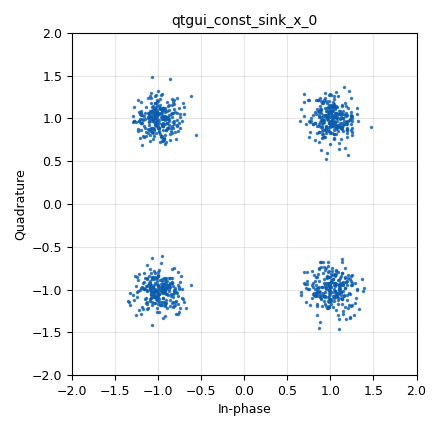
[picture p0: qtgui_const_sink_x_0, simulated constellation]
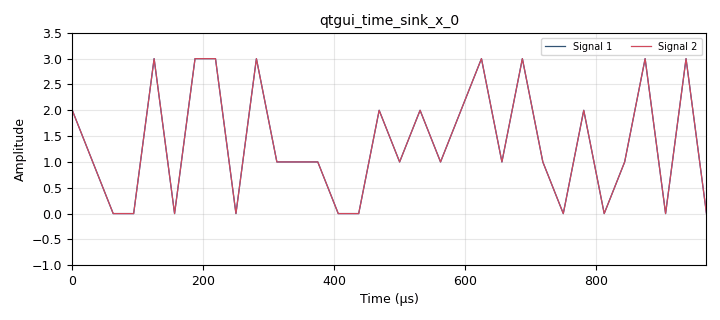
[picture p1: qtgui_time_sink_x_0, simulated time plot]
options:
  parameters:
    author: andrewgallovich
    generate_options: qt_gui
    id: Flow
    output_language: python
    title: Not titled yet
  states: {}

blocks:
- name: my_const
  id: variable_constellation
  parameters:
    const_points: '[1+1j, -1+1j, -1-1j, 1-1j]'
    dims: '1'
    normalization: digital.constellation.AMPLITUDE_NORMALIZATION
    precision: '8'
    rot_sym: '4'
    sym_map: '[0, 1, 2, 3]'
    type: calcdist
  states: {}
- name: noise_amp
  id: variable_qtgui_range
  parameters:
    start: '0'
    step: '0.1'
    stop: '1'
    value: '0.2'
  states: {}
- name: samp_rate
  id: variable
  parameters:
    value: '32000'
  states: {}
- name: analog_noise_source_x_0
  id: analog_noise_source_x
  parameters:
    amp: noise_amp
    noise_type: analog.GR_GAUSSIAN
    seed: '0'
    type: complex
  states: {}
- name: analog_random_source_x_0
  id: analog_random_source_x
  parameters:
    max: '4'
    min: '0'
    num_samps: '1000'
    repeat: 'True'
    type: byte
  states: {}
- name: blocks_add_xx_0
  id: blocks_add_xx
  parameters:
    type: complex
  states: {}
- name: blocks_char_to_float_0
  id: blocks_char_to_float
  parameters:
    scale: '1'
  states: {}
- name: blocks_char_to_float_1
  id: blocks_char_to_float
  parameters:
    scale: '1'
  states: {}
- name: blocks_file_sink_0
  id: blocks_file_sink
  parameters:
    file: /Users/andrewgallovich/Thesis/Files/GNU_Data
    type: complex
  states: {state: disabled}
- name: blocks_throttle2_0
  id: blocks_throttle2
  parameters:
    samples_per_second: samp_rate
    type: complex
  states: {}
- name: digital_chunks_to_symbols_xx_0
  id: digital_chunks_to_symbols_xx
  parameters:
    dimension: '1'
    in_type: byte
    out_type: complex
    symbol_table: '[1+1j, -1+1j, -1-1j, 1-1j]'
  states: {}
- name: digital_constellation_decoder_cb_0
  id: digital_constellation_decoder_cb
  parameters:
    constellation: my_const
  states: {}
- name: qtgui_const_sink_x_0
  id: qtgui_const_sink_x
  parameters:
    size: '1024'
    type: complex
  states: {}
- name: qtgui_time_sink_x_0
  id: qtgui_time_sink_x
  parameters:
    nconnections: '2'
    size: '32'
    srate: samp_rate
    type: float
    ymax: '3.5'
  states: {}

connections:
- [analog_noise_source_x_0, '0', blocks_add_xx_0, '1']
- [analog_random_source_x_0, '0', blocks_char_to_float_1, '0']
- [analog_random_source_x_0, '0', digital_chunks_to_symbols_xx_0, '0']
- [blocks_add_xx_0, '0', blocks_file_sink_0, '0']
- [blocks_add_xx_0, '0', blocks_throttle2_0, '0']
- [blocks_char_to_float_0, '0', qtgui_time_sink_x_0, '1']
- [blocks_char_to_float_1, '0', qtgui_time_sink_x_0, '0']
- [blocks_throttle2_0, '0', digital_constellation_decoder_cb_0, '0']
- [blocks_throttle2_0, '0', qtgui_const_sink_x_0, '0']
- [digital_chunks_to_symbols_xx_0, '0', blocks_add_xx_0, '0']
- [digital_constellation_decoder_cb_0, '0', blocks_char_to_float_0, '0']

metadata:
  file_format: 1
  grc_version: 3.10.12.0
